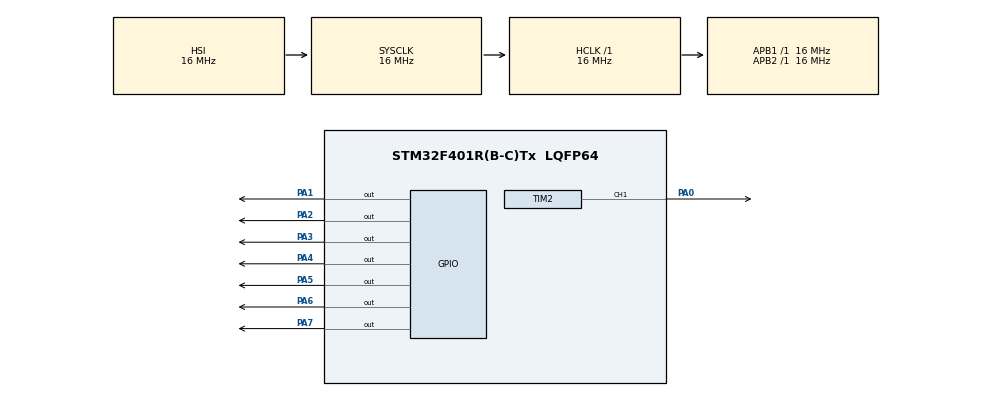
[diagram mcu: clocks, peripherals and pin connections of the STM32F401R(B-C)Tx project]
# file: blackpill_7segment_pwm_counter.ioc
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Mcu.Family=STM32F4
Mcu.Name=STM32F401R(B-C)Tx
Mcu.Package=LQFP64
NVIC.PriorityGroup=NVIC_PRIORITYGROUP_4
PA0-WKUP.Signal=S_TIM2_CH1_ETR
PA1.Signal=GPIO_Output
PA2.Signal=GPIO_Output
PA3.Signal=GPIO_Output
PA4.Signal=GPIO_Output
PA5.Signal=GPIO_Output
PA6.Signal=GPIO_Output
PA7.Signal=GPIO_Output
ProjectManager.HeapSize=0x200
ProjectManager.StackSize=0x400
ProjectManager.TargetToolchain=STM32CubeIDE
RCC.AHBFreq_Value=16000000
RCC.APB1Freq_Value=16000000
RCC.APB2Freq_Value=16000000
RCC.CortexFreq_Value=16000000
RCC.HSE_VALUE=25000000
RCC.HSI_VALUE=16000000
RCC.LSE_VALUE=32768
RCC.SYSCLKFreq_VALUE=16000000
RCC.VCOOutputFreq_Value=192000000
SH.S_TIM2_CH1_ETR.0=TIM2_CH1,PWM Generation1 CH1
TIM2.Channel-PWM\ Generation1\ CH1=TIM_CHANNEL_1
TIM2.OCPolarity_1=TIM_OCPOLARITY_LOW
TIM2.Period=255
board=custom

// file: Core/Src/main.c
/* USER CODE BEGIN Header */
/**
  ******************************************************************************
  * @file           : main.c
  * @brief          : Main program body
  ******************************************************************************
  * @attention
  *
  * Copyright (c) 2025 STMicroelectronics.
  * All rights reserved.
  *
  * This software is licensed under terms that can be found in the LICENSE file
  * in the root directory of this software component.
  * If no LICENSE file comes with this software, it is provided AS-IS.
  *
  ******************************************************************************
  */
/* USER CODE END Header */
#include "main.h"

TIM_HandleTypeDef htim2;

void SystemClock_Config(void);
static void MX_GPIO_Init(void);
static void MX_TIM2_Init(void);

int main(void)
{

  /* MCU Configuration--------------------------------------------------------*/

  /* Reset of all peripherals, Initializes the Flash interface and the Systick. */
  HAL_Init();

  /* Configure the system clock */
  SystemClock_Config();

  /* Initialize all configured peripherals */
  MX_GPIO_Init();
  MX_TIM2_Init();
  /* USER CODE BEGIN 2 */

  uint8_t pulse;
  HAL_TIM_PWM_Start(&htim2, TIM_CHANNEL_1);

  uint16_t ports[] = { GPIO_PIN_1, GPIO_PIN_2, GPIO_PIN_3, GPIO_PIN_4, GPIO_PIN_5, GPIO_PIN_6, GPIO_PIN_7 };

  uint8_t data_table[10][7] = {

		  {0, 0, 0, 0, 0, 0, 1}, //0
		  {1, 0, 0, 1, 1, 1, 1}, //1
		  {0, 0, 1, 0, 0, 1, 0}, //2
		  {0, 0, 0, 0, 1, 1, 0}, //3
		  {1, 0, 0, 1, 1, 0, 0}, //4
		  {0, 1, 0, 0, 1, 0, 0}, //5
		  {0, 1, 0, 0, 0, 0, 0}, //6
		  {0, 0, 0, 1, 1, 1, 1}, //7
		  {0, 0, 0, 0, 0, 0, 0}, //8
		  {0, 0, 0, 1, 1, 0, 0} //9
  };

  void LED(uint8_t input)
  {
	  pulse = 255;
	  for(uint8_t j=0; j<7; j++)
	  	{
	  	  HAL_GPIO_WritePin(GPIOA, ports[j], data_table[input][j]);
	  	}
	  while(pulse>0)
	  	{
		  __HAL_TIM_SET_COMPARE(&htim2, TIM_CHANNEL_1, pulse);
	  	  pulse-=1;
	  	  HAL_Delay(10);
	  	}

  }

  /* USER CODE END 2 */

  /* Infinite loop */
  while (1)
  {

    /* USER CODE BEGIN 3 */

	  for(uint8_t k=0; k<10; k++)
	  {
		  LED(k);
	  }

  }
  /* USER CODE END 3 */
}

void SystemClock_Config(void)
{
  RCC_OscInitTypeDef RCC_OscInitStruct = {0};
  RCC_ClkInitTypeDef RCC_ClkInitStruct = {0};

  /** Configure the main internal regulator output voltage
  */
  __HAL_RCC_PWR_CLK_ENABLE();
  __HAL_PWR_VOLTAGESCALING_CONFIG(PWR_REGULATOR_VOLTAGE_SCALE2);

  /** Initializes the RCC Oscillators according to the specified parameters
  * in the RCC_OscInitTypeDef structure.
  */
  RCC_OscInitStruct.OscillatorType = RCC_OSCILLATORTYPE_HSI;
  RCC_OscInitStruct.HSIState = RCC_HSI_ON;
  RCC_OscInitStruct.HSICalibrationValue = RCC_HSICALIBRATION_DEFAULT;
  RCC_OscInitStruct.PLL.PLLState = RCC_PLL_NONE;
  if (HAL_RCC_OscConfig(&RCC_OscInitStruct) != HAL_OK)
  {
    Error_Handler();
  }

  /** Initializes the CPU, AHB and APB buses clocks
  */
  RCC_ClkInitStruct.ClockType = RCC_CLOCKTYPE_HCLK|RCC_CLOCKTYPE_SYSCLK
                              |RCC_CLOCKTYPE_PCLK1|RCC_CLOCKTYPE_PCLK2;
  RCC_ClkInitStruct.SYSCLKSource = RCC_SYSCLKSOURCE_HSI;
  RCC_ClkInitStruct.AHBCLKDivider = RCC_SYSCLK_DIV1;
  RCC_ClkInitStruct.APB1CLKDivider = RCC_HCLK_DIV1;
  RCC_ClkInitStruct.APB2CLKDivider = RCC_HCLK_DIV1;

  if (HAL_RCC_ClockConfig(&RCC_ClkInitStruct, FLASH_LATENCY_0) != HAL_OK)
  {
    Error_Handler();
  }
}

static void MX_TIM2_Init(void)
{

  TIM_MasterConfigTypeDef sMasterConfig = {0};
  TIM_OC_InitTypeDef sConfigOC = {0};

  htim2.Instance = TIM2;
  htim2.Init.Prescaler = 0;
  htim2.Init.CounterMode = TIM_COUNTERMODE_UP;
  htim2.Init.Period = 255;
  htim2.Init.ClockDivision = TIM_CLOCKDIVISION_DIV1;
  htim2.Init.AutoReloadPreload = TIM_AUTORELOAD_PRELOAD_DISABLE;
  if (HAL_TIM_PWM_Init(&htim2) != HAL_OK)
  {
    Error_Handler();
  }
  sMasterConfig.MasterOutputTrigger = TIM_TRGO_RESET;
  sMasterConfig.MasterSlaveMode = TIM_MASTERSLAVEMODE_DISABLE;
  if (HAL_TIMEx_MasterConfigSynchronization(&htim2, &sMasterConfig) != HAL_OK)
  {
    Error_Handler();
  }
  sConfigOC.OCMode = TIM_OCMODE_PWM1;
  sConfigOC.Pulse = 0;
  sConfigOC.OCPolarity = TIM_OCPOLARITY_LOW;
  sConfigOC.OCFastMode = TIM_OCFAST_DISABLE;
  if (HAL_TIM_PWM_ConfigChannel(&htim2, &sConfigOC, TIM_CHANNEL_1) != HAL_OK)
  {
    Error_Handler();
  }
  HAL_TIM_MspPostInit(&htim2);

}

static void MX_GPIO_Init(void)
{
  GPIO_InitTypeDef GPIO_InitStruct = {0};

  /* GPIO Ports Clock Enable */
  __HAL_RCC_GPIOA_CLK_ENABLE();

  /*Configure GPIO pin Output Level */
  HAL_GPIO_WritePin(GPIOA, GPIO_PIN_1|GPIO_PIN_2|GPIO_PIN_3|GPIO_PIN_4
                          |GPIO_PIN_5|GPIO_PIN_6|GPIO_PIN_7, GPIO_PIN_RESET);

  /*Configure GPIO pins : PA1 PA2 PA3 PA4
                           PA5 PA6 PA7 */
  GPIO_InitStruct.Pin = GPIO_PIN_1|GPIO_PIN_2|GPIO_PIN_3|GPIO_PIN_4
                          |GPIO_PIN_5|GPIO_PIN_6|GPIO_PIN_7;
  GPIO_InitStruct.Mode = GPIO_MODE_OUTPUT_PP;
  GPIO_InitStruct.Pull = GPIO_NOPULL;
  GPIO_InitStruct.Speed = GPIO_SPEED_FREQ_LOW;
  HAL_GPIO_Init(GPIOA, &GPIO_InitStruct);

}

void Error_Handler(void)
{
  __disable_irq();
  while (1)
  {
  }
}
